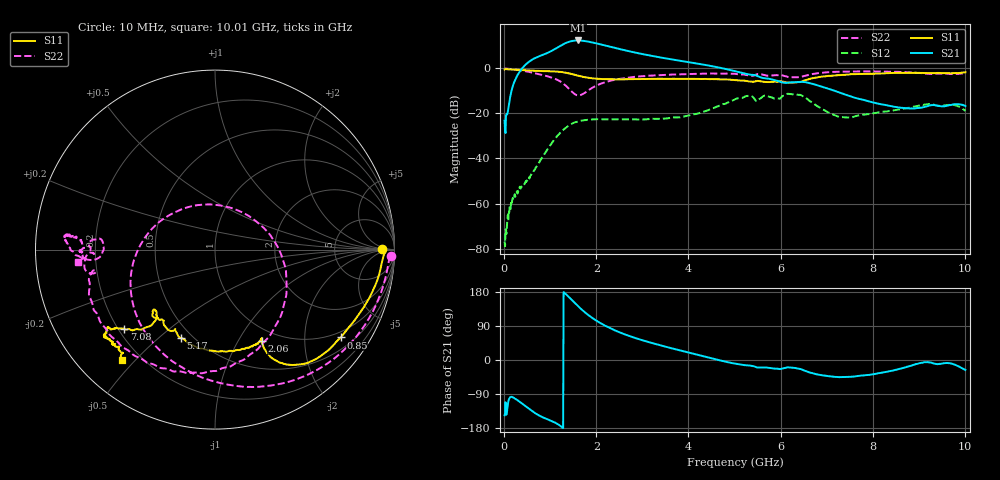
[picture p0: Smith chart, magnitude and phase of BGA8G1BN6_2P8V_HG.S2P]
!Agilent Technologies,E5071C,MY46317100,A.11.08
!Date: Tue Jan 31 20:44:34 2017
!Data & Calibration Information:
!Freq	S11:SOLT2(ON)	S21:SOLT2(ON)	S12:SOLT2(ON)	S22:SOLT2(ON)
!PortZ  Port1:50+j0  Port2:50+j0
!Above PortZ is port z conversion or system Z0 setting when saving the data.
!When reading, reference impedance value at option line is always used.
# Hz S dB R 50
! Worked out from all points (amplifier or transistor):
!   1001 points, 10 MHz to 10.01 GHz, reference 50 ohm
!   highest |S21| = 12.2 dB at 1.6 GHz (marker M1)
!   |S21| within 3 dB of that: 1.168 GHz to 2.342 GHz (1.175 GHz wide, 66.9 % of centre)
!   unconditionally stable (mu >= 1): start of sweep to 4.246 GHz; 5.355 GHz to end of sweep
!   at 1.67 GHz: K = 1.18, MAG = 15.2 dB, |S12| = -23.3 dB
!   at 5.01 GHz: K = 0.64, MSG = 6.2 dB, |S12| = -13.9 dB
!   at 10.01 GHz: K = 4.25, MAG = -8.2 dB, |S12| = -18.9 dB
!   lowest NFmin = 0.75 dB at 1.575 GHz
!   S11 on the Smith chart (normalised r, x): 10 MHz: 28, +2; 850 MHz: 0.82, -2.97; 2.06 GHz: 0.83, -1.26; 5.17 GHz: 0.43, -0.59; 7.08 GHz: 0.22, -0.36; 10.01 GHz: 0.13, -0.46
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1e7  -0.63 0.3  -23.28 -146.0  -76.69 -52.1  -0.18 -2.1
1.5e8  -0.65 -7.1  -11.01 -97.2  -59.22 100.2  -0.48 -20.1
3e8  -0.82 -14.1  -2.82 -107.1  -54.80 110.3  -0.84 -38.9
5.5e8  -1.12 -24.1  2.90 -129.6  -48.85 141.2  -1.79 -68.9
8.5e8  -1.37 -34.9  5.91 -151.9  -38.75 163.1  -3.23 -103.2
1.08e9  -1.52 -43.8  8.12 -163.7  -31.97 158.4  -4.59 -134.4
1.22e9  -1.73 -49.9  9.80 -174.0  -28.57 149.0  -5.98 -159.6
1.42e9  -2.43 -58.0  11.66 164.3  -25.21 130.3  -9.43 150.3
1.6e9  -3.38 -62.5  12.17 142.4  -23.65 113.5  -12.12 83.5
1.68e9  -3.77 -63.2  12.08 133.4  -23.27 107.0  -11.78 53.6
1.85e9  -4.40 -63.5  11.55 116.5  -22.85 96.1  -9.57 8.7
2.06e9  -4.85 -63.0  10.60 99.5  -22.67 86.2  -7.27 -23.2
2.3e9  -4.99 -62.4  9.40 83.9  -22.65 79.1  -5.65 -45.5
2.58e9  -5.03 -62.6  8.02 69.5  -22.71 74.8  -4.59 -63.8
3.35e9  -4.77 -67.0  4.81 40.0  -22.48 73.6  -3.19 -97.4
4.2e9  -4.81 -80.0  1.92 13.5  -20.14 86.6  -2.60 -129.0
5.01e9  -5.28 -105.6  -1.43 -9.5  -13.87 79.0  -2.59 -161.3
5.17e9  -5.54 -111.1  -2.19 -12.8  -13.22 69.8  -2.82 -166.4
6.68e9  -4.59 -132.1  -6.97 -34.4  -15.20 -4.7  -2.73 -175.9
7.08e9  -3.47 -138.9  -9.47 -43.0  -19.96 1.8  -1.85 179.4
8.35e9  -2.29 -142.7  -16.69 -30.0  -19.07 46.7  -1.59 174.5
1.001e10  -1.91 -130.0  -16.84 -26.2  -18.95 19.4  -2.31 -174.6
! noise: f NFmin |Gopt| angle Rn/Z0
1.1e+09  0.8324  0.5374  39  0.275
1.15e+09  0.8408  0.5369  39.51  0.2656
1.2e+09  0.8165  0.5099  42.68  0.2545
1.3e+09  0.8091  0.5069  43.89  0.2433
1.35e+09  0.7857  0.4976  45.63  0.2362
1.45e+09  0.7552  0.5051  49.32  0.2244
1.5e+09  0.7515  0.4821  48.61  0.2255
1.575e+09  0.7475  0.4741  50.11  0.2245
1.6e+09  0.7565  0.4749  51.34  0.2242
1.7e+09  0.7987  0.4764  54.34  0.2154
